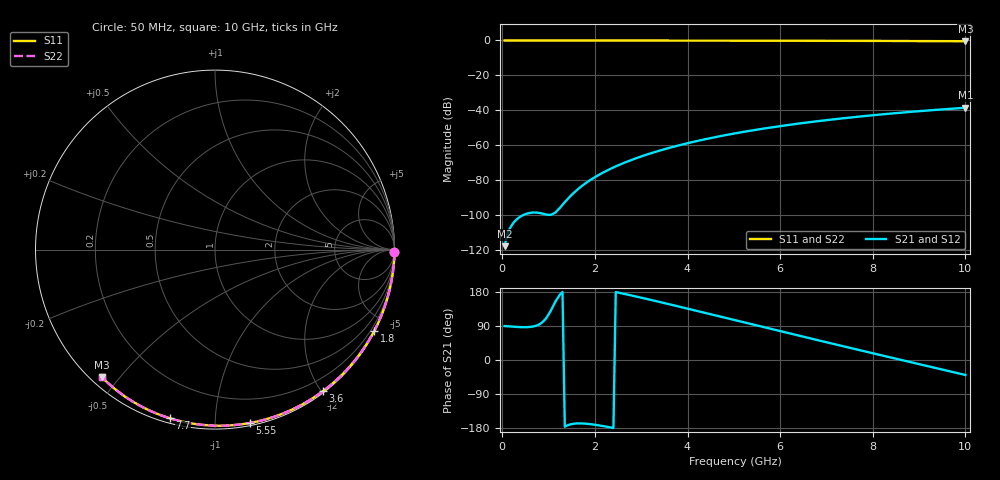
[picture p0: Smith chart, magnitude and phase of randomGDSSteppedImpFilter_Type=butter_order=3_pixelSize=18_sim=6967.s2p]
! freq	dB(S11)	phase(S11)	dB(S12)	phase(S12)
!  dB(S21)	phase(S21)	dB(S22)	phase(S22)
!S-par simulation data
#  GHz  S  DB  R 50
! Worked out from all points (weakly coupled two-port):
!   200 points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, 50 MHz to 10 GHz, reference 50 ohm
!   highest |S21| = -38.53 dB at 10 GHz (marker M1); lowest = -117.8 dB at 50 MHz (marker M2)
!   lowest |S11| = -0.4 dB at 10 GHz (marker M3), VSWR 39.07, Z = 1.54 - j22.5 ohm
!   |S11| at or under -10 dB: nowhere
!   |S22| runs from -0.4 to 0.0 dB; largest |S21 - S12| = 0
!   S11 on the Smith chart (normalised r, x): 50 MHz: open; 1.8 GHz: 0.04, -4.18; 3.6 GHz: 0.02, -2.02; 5.55 GHz: 0.02, -1.22; 7.7 GHz: 0.02, -0.77; 10 GHz: 0.03, -0.45
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0.05  -0.00 -0.8  -117.78 89.6  -117.78 89.6  -0.00 -0.8
0.45  -0.01 -6.8  -99.99 86.5  -99.99 86.5  -0.01 -6.8
0.9  -0.02 -13.6  -99.37 103.8  -99.37 103.8  -0.02 -13.6
1.75  -0.03 -26.2  -82.69 -167.6  -82.69 -167.6  -0.03 -26.2
1.8  -0.03 -26.9  -81.72 -168.0  -81.72 -168.0  -0.03 -26.9
1.9  -0.04 -28.4  -79.92 -169.2  -79.92 -169.2  -0.04 -28.4
2.05  -0.04 -30.6  -77.48 -171.8  -77.48 -171.8  -0.04 -30.6
2.25  -0.04 -33.5  -74.62 -176.0  -74.62 -176.0  -0.04 -33.5
2.45  -0.05 -36.4  -72.10 179.2  -72.10 179.2  -0.05 -36.4
2.65  -0.05 -39.3  -69.85 174.1  -69.85 174.1  -0.05 -39.3
3  -0.06 -44.3  -66.40 164.5  -66.40 164.5  -0.06 -44.3
3.4  -0.07 -49.9  -63.04 153.1  -63.04 153.1  -0.07 -49.9
3.6  -0.07 -52.7  -61.54 147.3  -61.54 147.3  -0.07 -52.7
4.3  -0.09 -62.2  -57.01 126.7  -57.01 126.7  -0.09 -62.2
5.05  -0.11 -72.2  -53.08 104.4  -53.08 104.4  -0.11 -72.2
5.55  -0.13 -78.7  -50.85 89.6  -50.85 89.6  -0.13 -78.7
6.1  -0.15 -85.6  -48.67 73.3  -48.67 73.3  -0.15 -85.6
6.7  -0.18 -93.1  -46.58 55.6  -46.58 55.6  -0.18 -93.1
7.7  -0.24 -105.1  -43.61 26.4  -43.61 26.4  -0.24 -105.1
8.35  -0.29 -112.7  -41.96 7.7  -41.96 7.7  -0.29 -112.7
9.15  -0.36 -121.8  -40.17 -15.2  -40.17 -15.2  -0.36 -121.8
10  -0.44 -131.4  -38.53 -39.5  -38.53 -39.5  -0.44 -131.4
